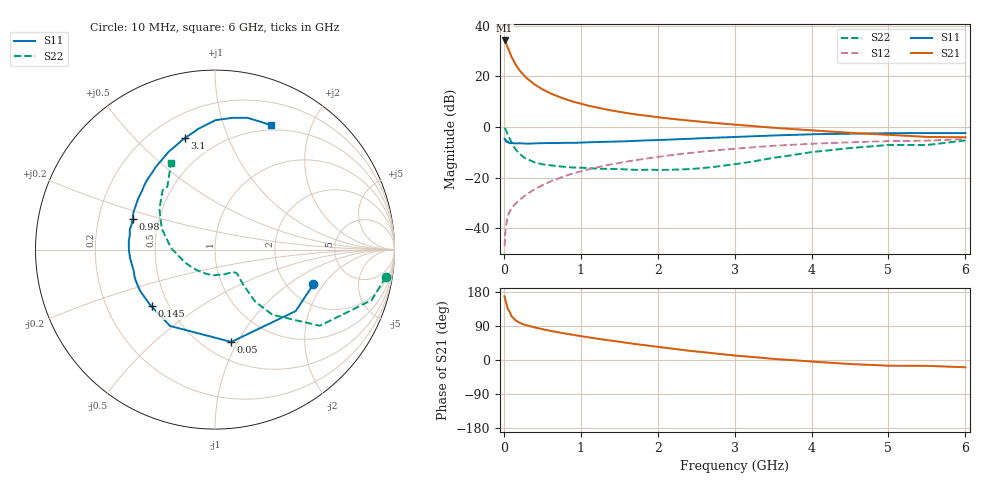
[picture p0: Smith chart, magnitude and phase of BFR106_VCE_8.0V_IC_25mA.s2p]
! Infineon Technologies  Discrete & RF Semiconductors
! BFR106
! VCE =  8.0 V,  IC =  25 mA
! Common Emitter S-Parameters:  Nov 2015
# GHz  S  MA  R  50
!  f  S11  S21  S12  S22
! GHz  MAG  ANG  MAG  ANG  MAG  ANG  MAG  ANG
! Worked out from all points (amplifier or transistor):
!   210 points, 10 MHz to 6 GHz, reference 50 ohm
!   highest |S21| = 34.2 dB at 10 MHz (marker M1)
!   |S21| within 3 dB of that: start of sweep to 53.43 MHz
!   unconditionally stable (mu >= 1): 364.7 MHz to 2.128 GHz
!   at 185 MHz: K = 0.80, MSG = 26.3 dB, |S12| = -29.4 dB
!   at 1.52 GHz: K = 1.05, MAG = 8.6 dB, |S12| = -14.1 dB
!   at 6 GHz: K = 0.98, MSG = 0.4 dB, |S12| = -4.8 dB
!   S11 on the Smith chart (normalised r, x): 10 MHz: 2.74, -1.60; 50 MHz: 0.67, -0.94; 145 MHz: 0.40, -0.33; 980 MHz: 0.35, +0.16; 3.1 GHz: 0.34, +0.71; 6 GHz: 0.44, +1.45
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0.01  0.5813 -19.4  51.38 167.9  0.0044 84.8  0.963 -9.1
0.02  0.5652 -37.3  48.5 158.2  0.0082 76.6  0.917 -17.9
0.05  0.5224 -80.0  37.36 135.0  0.0171 61.8  0.7215 -36.0
0.1  0.4937 -120.5  24.36 115.3  0.025 56.9  0.4848 -48.6
0.145  0.474 -138.2  17.98 106.2  0.0299 56.4  0.3761 -51.9
0.15  0.4747 -140.2  17.31 104.8  0.0304 56.3  0.3641 -52.4
0.2  0.4765 -151.3  13.42 98.8  0.0352 59.3  0.2992 -51.8
0.24  0.4744 -158.3  11.36 95.3  0.04 60.8  0.264 -51.3
0.26  0.4733 -161.1  10.5 93.6  0.0423 61.7  0.2506 -51.1
0.3  0.468 -165.1  9.108 91.0  0.0469 63.8  0.2323 -50.5
0.4  0.4751 -173.7  6.927 85.8  0.0585 65.7  0.2001 -48.5
0.5  0.4797 -179.6  5.568 81.2  0.0702 67.5  0.1832 -47.3
0.6  0.4825 175.0  4.669 77.0  0.0829 67.9  0.1749 -47.8
0.8  0.4879 166.8  3.547 69.6  0.1078 67.7  0.1615 -50.7
0.98  0.4892 159.7  2.938 63.7  0.1303 66.9  0.157 -54.2
1.02  0.4921 158.2  2.832 62.4  0.1353 66.6  0.1561 -55.5
1.4  0.5138 146.5  2.116 51.1  0.1825 63.1  0.1482 -68.6
2.02  0.5526 129.5  1.545 34.2  0.2587 55.7  0.1415 -99.3
3.1  0.6431 105.1  1.079 10.2  0.3823 40.6  0.1927 -163.7
4.1  0.7239 88.3  0.838 -5.4  0.4732 25.4  0.3299 155.2
5.1  0.7556 75.0  0.688 -15.2  0.5276 11.7  0.441 130.5
6  0.7589 65.9  0.626 -19.2  0.5763 1.2  0.5414 116.9
